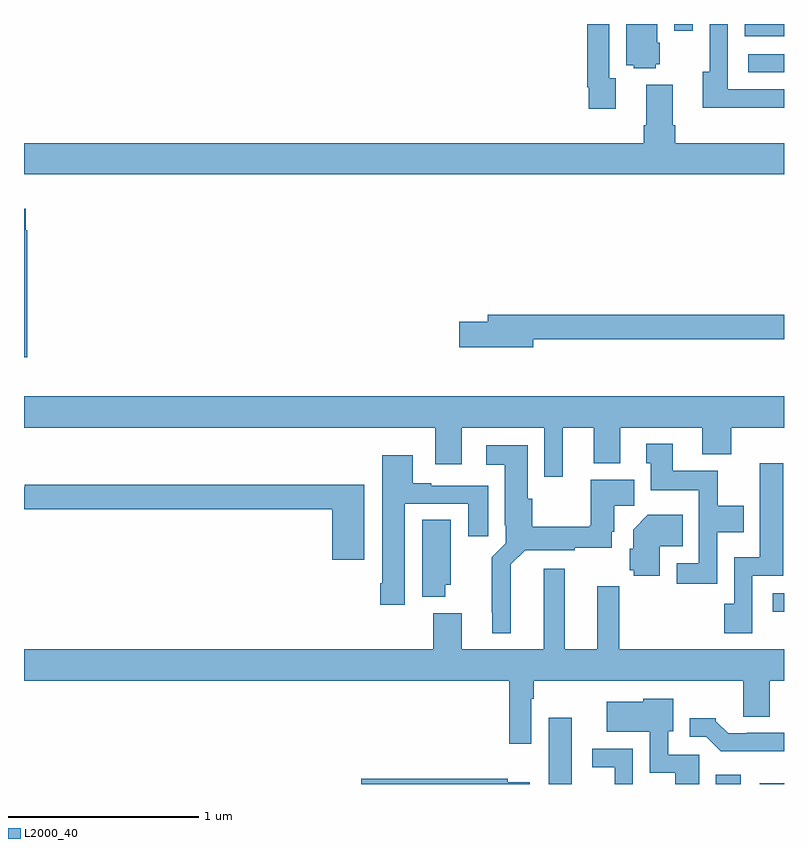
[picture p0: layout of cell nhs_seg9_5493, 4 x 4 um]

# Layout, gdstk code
import gdstk
lib = gdstk.Library(unit=1e-6, precision=1e-09)
def R(c, l, rs):  # rectangles x0, y0, x1, y1
    for r in rs: c.add(gdstk.rectangle(r[:2], r[2:], *l))
def P(c, l, *ps):  # polygons
    for p in ps: c.add(gdstk.Polygon(p, *l))
L2000_40 = (2000, 40)

nhs_seg9_5493 = lib.new_cell('nhs_seg9_5493')
R(nhs_seg9_5493, L2000_40, [(431.762,1238.5,431.884,1238.848), (432.641,1238.5,432.772,1238.548), (432.872,1238.5,433,1238.503), (432.942,1239.407,433,1239.504), (432.813,1242.246,433,1242.342), (432.794,1242.435,433,1242.5), (432.423,1242.465,432.519,1242.5)])
P(nhs_seg9_5493, L2000_40, [(432.115,1242.215),(432.081,1242.215),(432.081,1242.5),(431.965,1242.5),(431.965,1242.166),(431.973,1242.166),(431.973,1242.054),(432.115,1242.054)],
  [(432.324,1242.288),(432.346,1242.288),(432.346,1242.402),(432.334,1242.402),(432.334,1242.5),(432.17,1242.5),(432.17,1242.284),(432.21,1242.284),(432.21,1242.266),(432.324,1242.266)],
  [(433,1242.156),(432.705,1242.156),(432.705,1242.5),(432.609,1242.5),(432.609,1242.25),(432.572,1242.25),(432.572,1242.059),(433,1242.059)],
  [(433,1241.872),(432.428,1241.872),(432.428,1241.968),(432.415,1241.968),(432.415,1242.181),(432.275,1242.181),(432.275,1241.968),(432.263,1241.968),(432.263,1241.872),(429,1241.872),(429,1241.708),(433,1241.708)],
  [(429.017,1241.414),(429.01,1241.414),(429.01,1241.527),(429,1241.527),(429,1240.745),(429.017,1240.745)],
  [(431.68,1240.842),(433,1240.842),(433,1240.97),(431.441,1240.97),(431.441,1240.934),(431.292,1240.934),(431.292,1240.799),(431.68,1240.799)],
  [(431.836,1240.376),(431.999,1240.376),(431.999,1240.187),(432.139,1240.187),(432.139,1240.376),(432.569,1240.376),(432.569,1240.235),(432.722,1240.235),(432.722,1240.376),(433,1240.376),(433,1240.54),(429,1240.54),(429,1240.376),(431.165,1240.376),(431.165,1240.182),(431.305,1240.182),(431.305,1240.376),(431.739,1240.376),(431.739,1240.116),(431.836,1240.116)],
  [(432.648,1239.824),(432.787,1239.824),(432.787,1239.964),(432.651,1239.964),(432.651,1240.15),(432.415,1240.15),(432.415,1240.291),(432.275,1240.291),(432.275,1240.188),(432.299,1240.188),(432.299,1240.046),(432.552,1240.046),(432.552,1239.663),(432.435,1239.663),(432.435,1239.555),(432.648,1239.555)],
  [(431.563,1239.656),(431.637,1239.731),(431.898,1239.731),(431.898,1239.743),(432.094,1239.743),(432.094,1239.828),(432.106,1239.828),(432.106,1239.964),(432.211,1239.964),(432.211,1240.102),(431.984,1240.102),(431.984,1239.861),(431.977,1239.861),(431.977,1239.853),(431.676,1239.853),(431.676,1240.002),(431.65,1240.002),(431.65,1240.282),(431.433,1240.282),(431.433,1240.181),(431.531,1240.181),(431.531,1239.862),(431.535,1239.862),(431.535,1239.768),(431.461,1239.694),(431.461,1239.403),(431.465,1239.403),(431.465,1239.293),(431.563,1239.293)],
  [(431.005,1239.975),(431.339,1239.975),(431.339,1239.804),(431.443,1239.804),(431.443,1240.071),(431.143,1240.071),(431.143,1240.084),(431.047,1240.084),(431.047,1240.231),(430.886,1240.231),(430.886,1239.556),(430.874,1239.556),(430.874,1239.444),(431.005,1239.444)],
  [(432.834,1239.597),(432.997,1239.597),(432.997,1240.189),(432.872,1240.189),(432.872,1239.694),(432.738,1239.694),(432.738,1239.45),(432.686,1239.45),(432.686,1239.294),(432.834,1239.294)],
  [(430.792,1240.075),(429.004,1240.075),(429.004,1240.062),(429,1240.062),(429,1239.946),(430.622,1239.946),(430.622,1239.681),(430.792,1239.681)],
  [(432.346,1239.752),(432.467,1239.752),(432.467,1239.916),(432.284,1239.916),(432.206,1239.838),(432.206,1239.738),(432.188,1239.738),(432.188,1239.624),(432.21,1239.624),(432.21,1239.595),(432.346,1239.595)],
  [(431.218,1239.549),(431.245,1239.549),(431.245,1239.89),(431.096,1239.89),(431.096,1239.485),(431.218,1239.485)],
  [(431.67,1238.948),(431.683,1238.948),(431.683,1239.044),(432.785,1239.044),(432.785,1238.854),(432.925,1238.854),(432.925,1239.044),(433,1239.044),(433,1239.208),(432.134,1239.208),(432.134,1239.541),(432.017,1239.541),(432.017,1239.208),(431.845,1239.208),(431.845,1239.634),(431.735,1239.634),(431.735,1239.208),(431.305,1239.208),(431.305,1239.4),(431.153,1239.4),(431.153,1239.208),(429,1239.208),(429,1239.044),(431.554,1239.044),(431.554,1238.712),(431.67,1238.712)],
  [(432.553,1238.655),(432.39,1238.655),(432.39,1238.778),(432.418,1238.778),(432.418,1238.95),(432.258,1238.95),(432.258,1238.932),(432.066,1238.932),(432.066,1238.774),(432.294,1238.774),(432.294,1238.558),(432.428,1238.558),(432.428,1238.5),(432.553,1238.5)],
  [(433,1238.769),(432.805,1238.769),(432.805,1238.766),(432.706,1238.766),(432.642,1238.83),(432.642,1238.845),(432.503,1238.845),(432.503,1238.748),(432.591,1238.748),(432.667,1238.672),(433,1238.672)],
  [(432.204,1238.685),(431.991,1238.685),(431.991,1238.589),(432.108,1238.589),(432.108,1238.5),(432.204,1238.5)],
  [(431.662,1238.51),(431.546,1238.51),(431.546,1238.528),(430.775,1238.528),(430.775,1238.5),(431.662,1238.5)])

lib.write_gds('nhs_seg9_5493.gds')
